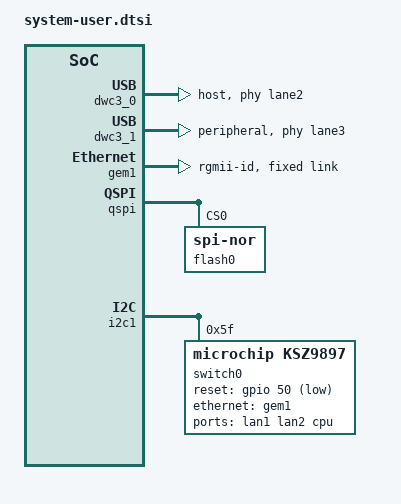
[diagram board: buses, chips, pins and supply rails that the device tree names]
/include/ "system-conf.dtsi"
#include <dt-bindings/gpio/gpio.h>

/ {
    aliases {
        serial0 = &uart1;
        serial1 = &uart0;
    };

    chosen {
        bootargs= "console=ttyPS0,115200 root=/dev/mmcblk0p2 earlycon clk_ignore_unused earlyprintk rootfstype=ext4 rw rootwait cma=1024M";
        stdout-path = "serial0:115200n8";

  };
};

/* notes:
serdes: // PHY TYP see: dt-bindings/phy/phy.h
*/

/* default */

/* SD */

&sdhci0 {
    disable-wp;
    no-1-8-v;
};



/* USB  */


&dwc3_0 {
    status = "okay";
    dr_mode = "host";
    snps,usb3_lpm_capable;
    snps,dis_u3_susphy_quirk;
    snps,dis_u2_susphy_quirk;
    phy-names = "usb2-phy","usb3-phy";
    phys = <&lane2 4 0 2 100000000>;
    maximum-speed = "super-speed";
};

&dwc3_1 {
    status = "okay";
    dr_mode = "peripheral";
    phy-names = "usb2-phy","usb3-phy";
    phys = <&lane3 4 1 2 100000000>;
    maximum-speed = "super-speed";
};

/* ETH PHY */

&gem1 {
    phy-mode = "rgmii-id";
    fixed-link {
        speed = <1000>;
        full-duplex;
    };
};

/* QSPI */

&qspi {
    #address-cells = <1>;
    #size-cells = <0>;
    status = "okay";
    flash0: flash@0 {
        compatible = "jedec,spi-nor";
        reg = <0x0>;
        #address-cells = <1>;
        #size-cells = <1>;
    };
};

/* I2C */

&i2c0 {
    i2c@4 { //Module PLL Si5338 or SI5345
        #address-cells = <1>;
        #size-cells = <0>;
        reg = <4>;
    };
};



&i2c1 {
    switch0: switch@5f {
         #address-cells = <1>;
         #size-cells = <0>;
         compatible = "microchip,ksz9897";
         reg = <0x5f>;
         reset-gpios = <&gpio 50 GPIO_ACTIVE_LOW>;
         status = "okay";

         ports {
             #address-cells = <1>;
             #size-cells = <0>;
             port@0 {
                 reg = <0>;
                 label = "lan1";
             };
             port@1 {
                 reg = <1>;
                 label = "lan2";
             };
             port@2 {
                 reg = <2>;
                 label = "cpu";
                 ethernet = <&gem1>;
                 phy-mode = "rgmii-id";
                 fixed-link {
                     speed = <1000>;
                     full-duplex;
                 };
             };
         };
    };
};

